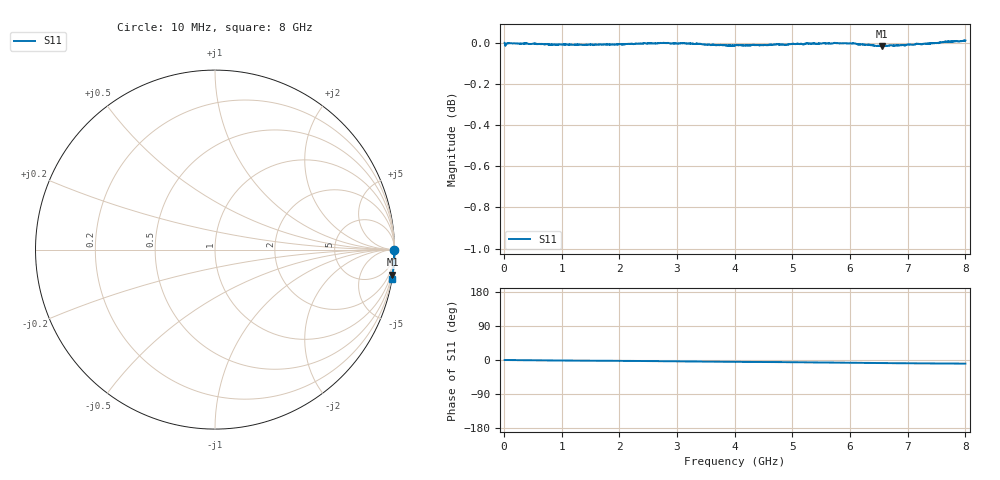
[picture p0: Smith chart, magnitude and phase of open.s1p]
! 1-Port measurement of an SMA(m) open
# Hz S  dB  R 50
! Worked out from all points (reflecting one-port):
!   2501 points, 10 MHz to 8 GHz, reference 50 ohm
!   lowest |S11| = 0.0 dB at 6.555 GHz (marker M1)
!   phase of S11 starts at -0 deg and turns -10 deg over the sweep
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1e7  0.00 -0.0
5.794e7  -0.00 -0.0
2.20936e8  -0.00 -0.3
5.56516e8  -0.00 -0.8
1.010348e9  -0.01 -1.4
1.387476e9  -0.01 -1.8
2.0075e9  -0.01 -2.3
2.47092e9  -0.00 -2.8
3.007848e9  -0.00 -3.5
3.321056e9  -0.00 -4.0
3.647048e9  -0.01 -4.5
4.005e9  -0.01 -4.9
4.2447e9  -0.01 -5.1
4.481204e9  -0.01 -5.3
4.743276e9  -0.01 -5.5
5.005348e9  -0.00 -5.8
5.465572e9  -0.00 -6.4
5.797956e9  -0.00 -6.9
6.0025e9  -0.00 -7.2
6.555408e9  -0.02 -8.1
6.8015e9  -0.01 -8.4
7.002848e9  -0.01 -8.6
7.172236e9  -0.00 -8.8
7.271312e9  -0.00 -8.9
7.373584e9  -0.00 -9.0
7.48864e9  -0.00 -9.1
7.926492e9  0.01 -9.5
8e9  0.01 -9.6
